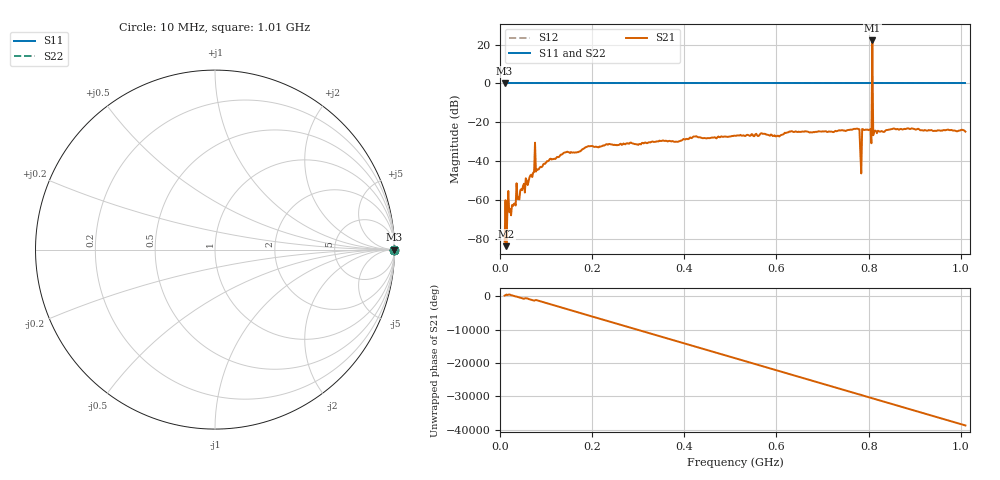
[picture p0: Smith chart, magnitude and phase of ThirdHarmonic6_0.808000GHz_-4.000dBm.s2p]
! 8/16/2025 2:54:21 AM
! C:\ANRITSUVNA\TEMP\TEMP.S2P
! CHANNEL.1
! TR.MEASUREMENT
! RAW.DATA
! RF.CORRECTION.OFF
! AVERAGING.OFF
! IF.BANDWIDTH: 5KHZ
! SWEEPTYPE:  FREQ.SWEEP(Linear)
! Reference Plane Port Info
! PORT:  PORT1  PORT2
! DISTANCE:  0  m  0  m
! TIME:  0  s  0  s
! PHASE.OFFSET:  0  deg.  0  deg.
! LOSS:  0  dB  0  dB
! REF.LOSS:  0  dB  0  dB
! REF.FREQ:  0  Hz  0  Hz
! Power Info
! POWER:  -20  dBm  -20  dBm
! EFF.POWER:  -20  dBm  -20  dBm
! SOURCE.ATTEN:  0  dB  0  dB
! TEST.ATTEN:  0  dB  0  dB
# GHZ S RI R 50.0
! FREQ.GHZ  S11RE  S11IM  S21RE  S21IM  S12RE  S12IM  S22RE  S22IM
!; PortSelection: Port_12
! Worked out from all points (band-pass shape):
!   501 points, 10 MHz to 1.01 GHz, reference 50 ohm
!   highest |S21| = 22.15 dB at 808 MHz (marker M1); lowest = -83.9 dB at 14 MHz (marker M2)
!   |S21| within 3 dB of the highest: 807.8868 MHz to 808.1228 MHz (236 kHz wide, 0.0292 % of centre)
!   lowest |S11| = 0.0 dB at 10 MHz (marker M3)
!   |S11| at or under -10 dB: nowhere
!   |S22| runs from 0.0 to 0.0 dB; largest |S21 - S12| = 12
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0.01  1 0  -7.06e-05 4.42e-05  1 0  1 0
0.014  1 0  -1.76e-05 6.13e-05  1 0  1 0
0.016  1 0  0.00038 -0.000289  1 0  1 0
0.07  1 0  -0.0016 -0.00351  1 0  1 0
0.076  1 0  -0.0296 0.00237  1 0  1 0
0.082  1 0  -0.00275 0.00533  1 0  1 0
0.142  1 0  -0.0153 -0.00665  1 0  1 0
0.178  1 0  -0.019 -0.00533  1 0  1 0
0.344  1 0  0.0315 -0.00546  1 0  1 0
0.51  1 0  -0.0423 0.0144  1 0  1 0
0.678  1 0  -0.0215 -0.0502  1 0  1 0
0.776  1 0  -0.0155 -0.0665  1 0  1 0
0.78  1 0  -0.00703 0.0653  1 0  1 0
0.786  1 0  -0.0562 -0.0363  1 0  1 0
0.79  1 0  0.0394 0.0495  1 0  1 0
0.802  1 0  0.0235 -0.0601  1 0  1 0
0.804  1 0  -0.058 -0.0323  1 0  1 0
0.808  1 0  7.605 10.3  1 0  1 0
0.812  1 0  -0.0244 -0.0538  1 0  1 0
0.814  1 0  -0.059 0.0151  1 0  1 0
0.844  1 0  0.0448 0.0464  1 0  1 0
1.01  1 0  -0.0538 -0.0193  1 0  1 0
